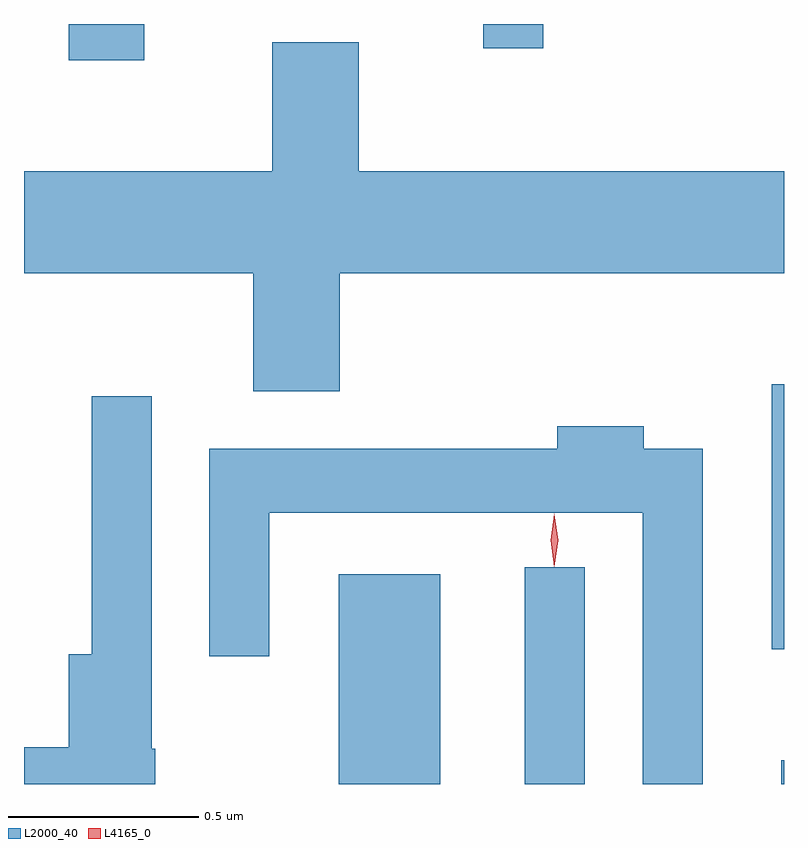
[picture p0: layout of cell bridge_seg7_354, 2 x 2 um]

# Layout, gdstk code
import gdstk
lib = gdstk.Library(unit=1e-6, precision=1e-09)
def R(c, l, rs):  # rectangles x0, y0, x1, y1
    for r in rs: c.add(gdstk.rectangle(r[:2], r[2:], *l))
def P(c, l, *ps):  # polygons
    for p in ps: c.add(gdstk.Polygon(p, *l))
L2000_40 = (2000, 40)
L4165_0 = (4165, 0)

bridge_seg7_354 = lib.new_cell('bridge_seg7_354')
R(bridge_seg7_354, L2000_40, [(1196.506,1755.152,1196.774,1755.704), (1196.996,1755.152,1197.154,1755.723), (1197.671,1755.152,1197.678,1755.214), (1197.646,1755.506,1197.678,1756.204), (1195.796,1757.056,1195.994,1757.152), (1196.886,1757.088,1197.044,1757.152)])
P(bridge_seg7_354, L2000_40, [(1196.509,1756.496),(1197.678,1756.496),(1197.678,1756.764),(1196.559,1756.764),(1196.559,1757.104),(1196.331,1757.104),(1196.331,1756.764),(1195.678,1756.764),(1195.678,1756.496),(1196.281,1756.496),(1196.281,1756.186),(1196.509,1756.186)],
  [(1196.024,1755.245),(1196.014,1755.245),(1196.014,1756.173),(1195.856,1756.173),(1195.856,1755.494),(1195.796,1755.494),(1195.796,1755.249),(1195.678,1755.249),(1195.678,1755.152),(1196.024,1755.152)],
  [(1197.464,1756.034),(1197.309,1756.034),(1197.309,1756.094),(1197.081,1756.094),(1197.081,1756.034),(1196.166,1756.034),(1196.166,1755.488),(1196.324,1755.488),(1196.324,1755.866),(1197.306,1755.866),(1197.306,1755.152),(1197.464,1755.152)])
P(bridge_seg7_354, L4165_0, [(1197.073,1755.724),(1197.064,1755.793),(1197.073,1755.862),(1197.074,1755.863),(1197.074,1755.862),(1197.084,1755.793),(1197.074,1755.724),(1197.074,1755.724)],
  [(1197.073,1755.727),(1197.064,1755.794),(1197.073,1755.86),(1197.074,1755.86),(1197.074,1755.86),(1197.084,1755.794),(1197.074,1755.727),(1197.074,1755.727)])

lib.write_gds('bridge_seg7_354.gds')
